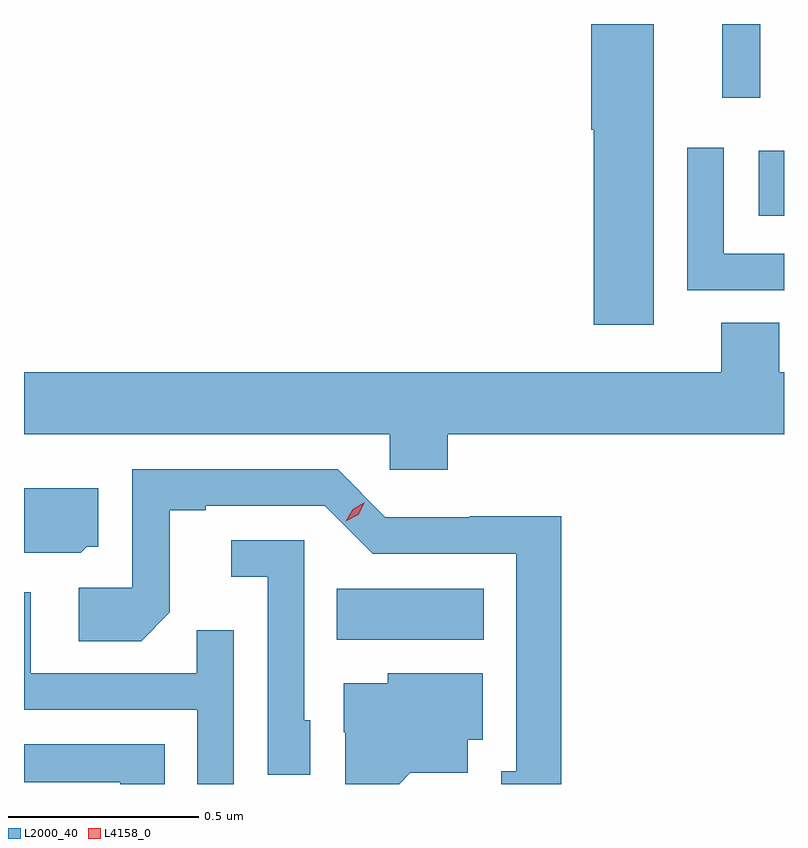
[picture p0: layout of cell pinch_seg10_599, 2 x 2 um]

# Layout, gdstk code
import gdstk
lib = gdstk.Library(unit=1e-6, precision=1e-09)
def R(c, l, rs):  # rectangles x0, y0, x1, y1
    for r in rs: c.add(gdstk.rectangle(r[:2], r[2:], *l))
def P(c, l, *ps):  # polygons
    for p in ps: c.add(gdstk.Polygon(p, *l))
L2000_40 = (2000, 40)
L4158_0 = (4158, 0)

pinch_seg10_599 = lib.new_cell('pinch_seg10_599')
R(pinch_seg10_599, L2000_40, [(310.972,1261.148,311.359,1261.282), (312.083,1262.264,312.149,1262.434), (311.987,1262.574,312.086,1262.768)])
P(pinch_seg10_599, L2000_40, [(311.806,1262.768),(311.642,1262.768),(311.642,1262.49),(311.648,1262.49),(311.648,1261.977),(311.806,1261.977)],
  [(312.149,1262.163),(311.991,1262.163),(311.991,1262.443),(311.895,1262.443),(311.895,1262.067),(312.149,1262.067)],
  [(311.264,1261.688),(312.149,1261.688),(312.149,1261.852),(312.137,1261.852),(312.137,1261.982),(311.984,1261.982),(311.984,1261.852),(310.149,1261.852),(310.149,1261.688),(311.112,1261.688),(311.112,1261.595),(311.264,1261.595)],
  [(311.563,1261.472),(311.322,1261.472),(311.322,1261.47),(311.1,1261.47),(310.974,1261.596),(310.434,1261.596),(310.434,1261.284),(310.293,1261.284),(310.293,1261.144),(310.457,1261.144),(310.533,1261.22),(310.533,1261.488),(310.627,1261.488),(310.627,1261.5),(310.941,1261.5),(311.067,1261.374),(311.444,1261.374),(311.444,1260.801),(311.405,1260.801),(311.405,1260.768),(311.563,1260.768)],
  [(310.314,1261.392),(310.345,1261.392),(310.345,1261.546),(310.149,1261.546),(310.149,1261.377),(310.164,1261.377),(310.164,1261.376),(310.298,1261.376)],
  [(310.902,1260.936),(310.887,1260.936),(310.887,1261.41),(310.695,1261.41),(310.695,1261.313),(310.791,1261.313),(310.791,1260.793),(310.902,1260.793)],
  [(310.701,1261.172),(310.603,1261.172),(310.603,1261.059),(310.167,1261.059),(310.167,1261.273),(310.149,1261.273),(310.149,1260.963),(310.605,1260.963),(310.605,1260.768),(310.701,1260.768)],
  [(311.165,1260.797),(311.317,1260.797),(311.317,1260.884),(311.356,1260.884),(311.356,1261.06),(311.106,1261.06),(311.106,1261.033),(310.991,1261.033),(310.991,1260.904),(310.995,1260.904),(310.995,1260.768),(311.136,1260.768)],
  [(310.52,1260.873),(310.149,1260.873),(310.149,1260.772),(310.402,1260.772),(310.402,1260.768),(310.52,1260.768)])
P(pinch_seg10_599, L4158_0, [(310.996,1261.459),(310.996,1261.459),(311.014,1261.491),(311.046,1261.509),(311.046,1261.509),(311.046,1261.509),(311.028,1261.477),(310.996,1261.459)])

lib.write_gds('pinch_seg10_599.gds')
